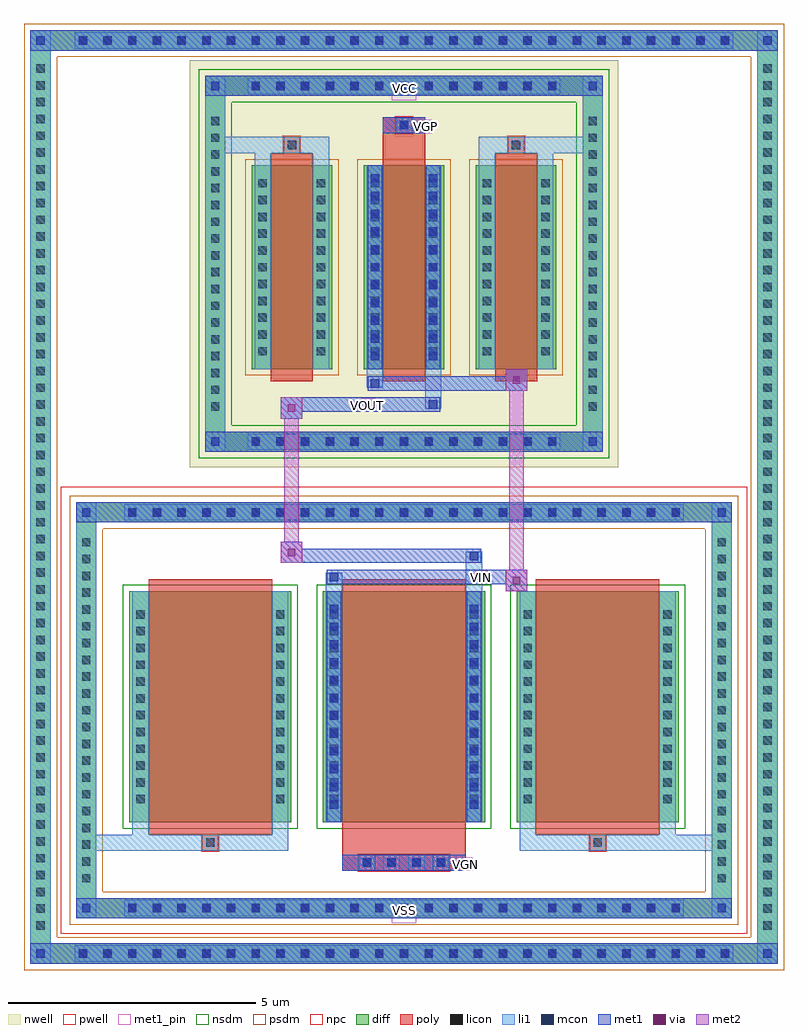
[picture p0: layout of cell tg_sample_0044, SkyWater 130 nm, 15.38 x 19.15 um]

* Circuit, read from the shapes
.subckt tg_sample_0044 VCC VGN VGP VIN VOUT VSS
XM1 VSS VSS VSS VSUBS sky130_fd_pr__nfet_01v8 w=4.67 l=2.5 m=2
XM2 VOUT VGN VIN VSUBS sky130_fd_pr__nfet_01v8 w=4.67 l=2.5
XM3 VCC VCC VCC n1 sky130_fd_pr__pfet_01v8 w=4.12 l=0.85 m=2
XM4 VOUT VGP VIN n1 sky130_fd_pr__pfet_01v8 w=4.12 l=0.85
.ends

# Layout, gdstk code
import gdstk
lib = gdstk.Library(unit=1e-6, precision=5e-09)
def R(c, l, rs):  # rectangles x0, y0, x1, y1
    for r in rs: c.add(gdstk.rectangle(r[:2], r[2:], *l))
def A(c, l, x, y, w, h, nx, ny, dx, dy):  # array of equal rectangles
    R(c, l, [(x+i*dx, y+j*dy, x+i*dx+w, y+j*dy+h) for i in range(nx) for j in range(ny)])
def P(c, l, *ps):  # polygons
    for p in ps: c.add(gdstk.Polygon(p, *l))
nwell = (64, 20)
pwell = (64, 44)
diff = (65, 20)
poly = (66, 20)
licon = (66, 44)
li1 = (67, 20)
mcon = (67, 44)
met1_pin = (68, 16)
met1 = (68, 20)
via = (68, 44)
met2 = (69, 20)
nsdm = (93, 44)
psdm = (94, 20)
npc = (95, 20)

tg_sample_0044 = lib.new_cell('tg_sample_0044')
R(tg_sample_0044, nwell, [(-4.335,4.92,4.335,13.15)])
R(tg_sample_0044, pwell, [(-6.945,-4.52,6.945,4.52)])
A(tg_sample_0044, diff, -6.705, -5.13, 0.41, 0.41, 27, 2, 0.5, 18.48)
A(tg_sample_0044, diff, -7.56, -4.56, 0.41, 0.41, 1, 52, 0, 0.34)
A(tg_sample_0044, diff, 7.15, -4.56, 0.41, 0.41, 1, 52, 0, 0.34)
A(tg_sample_0044, diff, -5.705, -4.21, 0.41, 0.41, 23, 2, 0.5, 8.01)
A(tg_sample_0044, diff, -6.635, -3.605, 0.41, 0.41, 1, 21, 0, 0.34)
A(tg_sample_0044, diff, 6.225, -3.605, 0.41, 0.41, 1, 21, 0, 0.34)
A(tg_sample_0044, diff, -5.56, -2.265, 3.28, 4.67, 3, 1, 3.92, 0)
A(tg_sample_0044, diff, -3.205, 5.23, 0.41, 0.41, 13, 2, 0.5, 7.2)
A(tg_sample_0044, diff, -4.025, 5.94, 0.41, 0.41, 1, 18, 0, 0.34)
A(tg_sample_0044, diff, 3.615, 5.94, 0.41, 0.41, 1, 18, 0, 0.34)
A(tg_sample_0044, diff, -3.085, 6.905, 1.63, 4.12, 3, 1, 2.27, 0)
R(tg_sample_0044, diff, [(-6.705,-5.13,6.705,-4.72), (-7.56,-4.56,-7.15,13.19), (7.15,-4.56,7.56,13.19), (-5.705,-4.21,5.705,-3.8), (-6.635,-3.605,-6.225,3.605), (6.225,-3.605,6.635,3.605), (-5.705,3.8,5.705,4.21), (-3.205,5.23,3.205,5.64), (-4.025,5.94,-3.615,12.13), (3.615,5.94,4.025,12.13), (-3.205,12.43,3.205,12.84), (-6.705,13.35,6.705,13.76)])
P(tg_sample_0044, diff, [(6.635,4.21),(-6.635,4.21),(-6.635,-3.8),(-6.225,-3.8),(-6.225,3.8),(6.225,3.8),(6.225,-3.8),(-6.225,-3.8),(-6.635,-3.8),(-6.635,-4.21),(6.635,-4.21)],
  [(7.56,13.76),(-7.56,13.76),(-7.56,-4.72),(-7.15,-4.72),(-7.15,13.35),(7.15,13.35),(7.15,-4.72),(-7.15,-4.72),(-7.56,-4.72),(-7.56,-5.13),(7.56,-5.13)],
  [(4.025,5.23),(-4.025,5.23),(-4.025,12.43),(-3.615,12.43),(-3.615,5.64),(3.615,5.64),(3.615,12.43),(-3.615,12.43),(-4.025,12.43),(-4.025,12.84),(4.025,12.84)])
A(tg_sample_0044, poly, -0.915, -3.25, 0.33, 0.33, 4, 1, 0.5, 0)
A(tg_sample_0044, poly, -5.17, -2.515, 2.5, 5.17, 3, 1, 3.92, 0)
A(tg_sample_0044, poly, -2.695, 6.655, 0.85, 4.62, 3, 1, 2.27, 0)
R(tg_sample_0044, poly, [(-1.25,-3.25,1.25,-2.92), (-1.25,-2.92,1.25,-2.515), (-4.085,-2.845,-3.755,-2.515), (-4.085,-2.845,-3.755,-2.515), (3.755,-2.845,4.085,-2.515), (3.755,-2.845,4.085,-2.515), (-2.435,11.275,-2.105,11.605), (-2.435,11.275,-2.105,11.605), (-0.425,11.275,0.425,11.675), (2.105,11.275,2.435,11.605), (2.105,11.275,2.435,11.605), (-0.425,11.675,0.425,12.005), (-0.165,11.675,0.165,12.005)])
A(tg_sample_0044, licon, -6.585, -5.01, 0.17, 0.17, 27, 2, 0.5, 18.48)
A(tg_sample_0044, licon, -7.44, -4.44, 0.17, 0.17, 1, 52, 0, 0.34)
A(tg_sample_0044, licon, 7.27, -4.44, 0.17, 0.17, 1, 52, 0, 0.34)
A(tg_sample_0044, licon, -5.585, -4.09, 0.17, 0.17, 23, 2, 0.5, 8.01)
A(tg_sample_0044, licon, -6.515, -3.485, 0.17, 0.17, 1, 21, 0, 0.34)
A(tg_sample_0044, licon, 6.345, -3.485, 0.17, 0.17, 1, 21, 0, 0.34)
A(tg_sample_0044, licon, -0.835, -3.17, 0.17, 0.17, 4, 1, 0.5, 0)
A(tg_sample_0044, licon, -5.42, -1.885, 0.17, 0.17, 1, 12, 0, 0.34)
A(tg_sample_0044, licon, -2.59, -1.885, 0.17, 0.17, 1, 12, 0, 0.34)
A(tg_sample_0044, licon, -1.5, -1.885, 0.17, 0.17, 1, 12, 0, 0.34)
A(tg_sample_0044, licon, 1.33, -1.885, 0.17, 0.17, 1, 12, 0, 0.34)
A(tg_sample_0044, licon, 2.42, -1.885, 0.17, 0.17, 1, 12, 0, 0.34)
A(tg_sample_0044, licon, 5.25, -1.885, 0.17, 0.17, 1, 12, 0, 0.34)
A(tg_sample_0044, licon, -3.085, 5.35, 0.17, 0.17, 13, 2, 0.5, 7.2)
A(tg_sample_0044, licon, -3.905, 6.06, 0.17, 0.17, 1, 18, 0, 0.34)
A(tg_sample_0044, licon, 3.735, 6.06, 0.17, 0.17, 1, 18, 0, 0.34)
A(tg_sample_0044, licon, -2.945, 7.18, 0.17, 0.17, 1, 11, 0, 0.34)
A(tg_sample_0044, licon, -1.765, 7.18, 0.17, 0.17, 1, 11, 0, 0.34)
A(tg_sample_0044, licon, -0.675, 7.18, 0.17, 0.17, 1, 11, 0, 0.34)
A(tg_sample_0044, licon, 0.505, 7.18, 0.17, 0.17, 1, 11, 0, 0.34)
A(tg_sample_0044, licon, 1.595, 7.18, 0.17, 0.17, 1, 11, 0, 0.34)
A(tg_sample_0044, licon, 2.775, 7.18, 0.17, 0.17, 1, 11, 0, 0.34)
R(tg_sample_0044, licon, [(-4.005,-2.765,-3.835,-2.595), (3.835,-2.765,4.005,-2.595), (-2.355,11.355,-2.185,11.525), (2.185,11.355,2.355,11.525), (-0.085,11.755,0.085,11.925)])
A(tg_sample_0044, li1, -6.665, -5.09, 0.33, 0.33, 27, 2, 0.5, 18.48)
A(tg_sample_0044, li1, -7.52, -4.52, 0.33, 0.33, 1, 52, 0, 0.34)
A(tg_sample_0044, li1, 7.19, -4.52, 0.33, 0.33, 1, 52, 0, 0.34)
A(tg_sample_0044, li1, -5.665, -4.17, 0.33, 0.33, 23, 2, 0.5, 8.01)
A(tg_sample_0044, li1, -6.595, -3.565, 0.33, 0.33, 1, 21, 0, 0.34)
A(tg_sample_0044, li1, 6.265, -3.565, 0.33, 0.33, 1, 21, 0, 0.34)
A(tg_sample_0044, li1, -0.915, -3.25, 0.33, 0.33, 4, 1, 0.5, 0)
A(tg_sample_0044, li1, -1.5, -1.995, 0.17, 0.17, 1, 12, 0, 0.36)
A(tg_sample_0044, li1, 1.33, -1.995, 0.17, 0.17, 1, 12, 0, 0.36)
A(tg_sample_0044, li1, -5.5, -1.965, 0.33, 0.33, 1, 12, 0, 0.34)
A(tg_sample_0044, li1, -2.67, -1.965, 0.33, 0.33, 1, 12, 0, 0.34)
A(tg_sample_0044, li1, -1.58, -1.965, 0.33, 0.33, 1, 12, 0, 0.34)
A(tg_sample_0044, li1, 1.25, -1.965, 0.33, 0.33, 1, 12, 0, 0.34)
A(tg_sample_0044, li1, 2.34, -1.965, 0.33, 0.33, 1, 12, 0, 0.34)
A(tg_sample_0044, li1, 5.17, -1.965, 0.33, 0.33, 1, 12, 0, 0.34)
A(tg_sample_0044, li1, -3.165, 5.27, 0.33, 0.33, 13, 2, 0.5, 7.2)
A(tg_sample_0044, li1, -3.985, 5.98, 0.33, 0.33, 1, 18, 0, 0.34)
A(tg_sample_0044, li1, 3.655, 5.98, 0.33, 0.33, 1, 18, 0, 0.34)
A(tg_sample_0044, li1, -0.675, 7.08, 0.17, 0.17, 1, 11, 0, 0.36)
A(tg_sample_0044, li1, 0.505, 7.08, 0.17, 0.17, 1, 11, 0, 0.36)
A(tg_sample_0044, li1, -3.025, 7.1, 0.33, 0.33, 1, 11, 0, 0.34)
A(tg_sample_0044, li1, -1.845, 7.1, 0.33, 0.33, 1, 11, 0, 0.34)
A(tg_sample_0044, li1, -0.755, 7.1, 0.33, 0.33, 1, 11, 0, 0.34)
A(tg_sample_0044, li1, 0.425, 7.1, 0.33, 0.33, 1, 11, 0, 0.34)
A(tg_sample_0044, li1, 1.515, 7.1, 0.33, 0.33, 1, 11, 0, 0.34)
A(tg_sample_0044, li1, 2.695, 7.1, 0.33, 0.33, 1, 11, 0, 0.34)
R(tg_sample_0044, li1, [(-7.56,-5.13,-7.15,-4.72), (7.15,-5.13,7.56,-4.72), (-6.665,-5.09,6.665,-4.76), (-7.44,-5.01,-7.27,-4.84), (-7.44,-5.01,-7.27,-4.84), (7.27,-5.01,7.44,-4.84), (7.27,-5.01,7.44,-4.84), (-7.56,-4.72,-7.15,13.35), (7.15,-4.72,7.56,13.35), (-6.635,-4.21,-6.225,-3.8), (6.225,-4.21,6.635,-3.8), (-5.665,-4.17,5.665,-3.84), (-6.515,-4.09,-6.345,-3.92), (-6.515,-4.09,-6.345,-3.92), (6.345,-4.09,6.515,-3.92), (6.345,-4.09,6.515,-3.92), (-6.635,-3.8,-6.225,3.8), (6.225,-3.8,6.635,3.8), (-6.635,-2.845,-4.085,-2.515), (-5.5,-2.845,-4.085,-2.515), (-5.5,-2.845,-5.17,-2.265), (-4.085,-2.845,-3.755,-2.515), (-3.755,-2.845,-2.34,-2.515), (-2.67,-2.845,-2.34,-2.265), (2.34,-2.845,3.755,-2.515), (2.34,-2.845,2.67,-2.265), (3.755,-2.845,4.085,-2.515), (3.755,-2.845,6.635,-2.515), (4.085,-2.845,5.5,-2.515), (5.17,-2.845,5.5,-2.265), (-5.5,-2.265,-5.17,2.405), (-2.67,-2.265,-2.34,2.405), (-1.58,-2.265,-1.25,2.405), (1.25,-2.265,1.58,2.405), (2.34,-2.265,2.67,2.405), (5.17,-2.265,5.5,2.405), (-1.5,-1.995,-1.33,2.135), (1.33,-1.995,1.5,2.135), (-1.58,2.405,-1.25,2.78), (1.25,2.405,1.58,3.21), (-1.5,2.61,-1.33,2.78), (1.33,3.04,1.5,3.21), (-6.635,3.8,-6.225,4.21), (6.225,3.8,6.635,4.21), (-5.665,3.84,5.665,4.17), (-6.515,3.92,-6.345,4.09), (-6.515,3.92,-6.345,4.09), (6.345,3.92,6.515,4.09), (6.345,3.92,6.515,4.09), (-4.025,5.23,-3.615,5.64), (3.615,5.23,4.025,5.64), (-3.165,5.27,3.165,5.6), (-3.905,5.35,-3.735,5.52), (-3.905,5.35,-3.735,5.52), (3.735,5.35,3.905,5.52), (3.735,5.35,3.905,5.52), (-4.025,5.64,-3.615,12.43), (3.615,5.64,4.025,12.43), (0.425,6.1,0.755,6.905), (0.505,6.1,0.675,6.27), (-0.755,6.53,-0.425,6.905), (-0.675,6.53,-0.505,6.7), (-3.025,6.905,-2.695,11.025), (-1.845,6.905,-1.515,11.025), (-0.755,6.905,-0.425,11.025), (0.425,6.905,0.755,11.025), (1.515,6.905,1.845,11.025), (2.695,6.905,3.025,11.025), (-0.675,7.08,-0.505,10.85), (0.505,7.08,0.675,10.85), (-3.025,11.025,-2.695,11.605), (-1.845,11.025,-1.515,11.605), (1.515,11.025,1.845,11.605), (2.695,11.025,3.025,11.605), (-4.025,11.275,-2.435,11.605), (-3.025,11.275,-2.435,11.605), (-2.435,11.275,-2.105,11.605), (-2.105,11.275,-1.515,11.605), (1.515,11.275,2.105,11.605), (2.105,11.275,2.435,11.605), (2.105,11.275,4.025,11.605), (2.435,11.275,3.025,11.605), (-0.165,11.675,0.165,12.005), (-4.025,12.43,-3.615,12.84), (3.615,12.43,4.025,12.84), (-3.165,12.47,3.165,12.8), (-3.905,12.55,-3.735,12.72), (-3.905,12.55,-3.735,12.72), (3.735,12.55,3.905,12.72), (3.735,12.55,3.905,12.72), (-7.56,13.35,-7.15,13.76), (7.15,13.35,7.56,13.76), (-6.665,13.39,6.665,13.72), (-7.44,13.47,-7.27,13.64), (-7.44,13.47,-7.27,13.64), (7.27,13.47,7.44,13.64), (7.27,13.47,7.44,13.64)])
A(tg_sample_0044, mcon, -6.585, -5.01, 0.17, 0.17, 27, 2, 0.5, 18.48)
A(tg_sample_0044, mcon, -5.585, -4.09, 0.17, 0.17, 23, 2, 0.5, 8.01)
A(tg_sample_0044, mcon, -0.835, -3.17, 0.17, 0.17, 4, 1, 0.5, 0)
A(tg_sample_0044, mcon, -1.5, -1.995, 0.17, 0.17, 1, 12, 0, 0.36)
A(tg_sample_0044, mcon, 1.33, -1.995, 0.17, 0.17, 1, 12, 0, 0.36)
A(tg_sample_0044, mcon, -3.085, 5.35, 0.17, 0.17, 13, 2, 0.5, 7.2)
A(tg_sample_0044, mcon, -0.675, 7.08, 0.17, 0.17, 1, 11, 0, 0.36)
A(tg_sample_0044, mcon, 0.505, 7.08, 0.17, 0.17, 1, 11, 0, 0.36)
R(tg_sample_0044, mcon, [(-7.44,-5.01,-7.27,-4.84), (7.27,-5.01,7.44,-4.84), (-6.515,-4.09,-6.345,-3.92), (6.345,-4.09,6.515,-3.92), (-1.5,2.61,-1.33,2.78), (1.33,3.04,1.5,3.21), (-6.515,3.92,-6.345,4.09), (6.345,3.92,6.515,4.09), (-3.905,5.35,-3.735,5.52), (3.735,5.35,3.905,5.52), (0.505,6.1,0.675,6.27), (-0.675,6.53,-0.505,6.7), (-0.085,11.755,0.085,11.925), (-3.905,12.55,-3.735,12.72), (3.735,12.55,3.905,12.72), (-7.44,13.47,-7.27,13.64), (7.27,13.47,7.44,13.64)])
R(tg_sample_0044, met1_pin, [(-0.25,-4.3,0.25,-3.8), (1.115,-3.25,1.385,-2.98), (1.425,2.55,1.695,2.82), (-0.87,6.04,-0.6,6.31), (0.29,11.675,0.56,11.945), (-0.25,12.34,0.25,12.84)])
A(tg_sample_0044, met1, -6.645, -5.07, 0.29, 0.29, 27, 2, 0.5, 18.48)
A(tg_sample_0044, met1, -5.645, -4.15, 0.29, 0.29, 23, 2, 0.5, 8.01)
A(tg_sample_0044, met1, -0.895, -3.23, 0.29, 0.29, 4, 1, 0.5, 0)
A(tg_sample_0044, met1, -1.56, -2.055, 0.29, 0.29, 1, 12, 0, 0.36)
A(tg_sample_0044, met1, 1.27, -2.055, 0.29, 0.29, 1, 12, 0, 0.36)
A(tg_sample_0044, met1, -3.145, 5.29, 0.29, 0.29, 13, 2, 0.5, 7.2)
A(tg_sample_0044, met1, -0.735, 7.02, 0.29, 0.29, 1, 11, 0, 0.36)
A(tg_sample_0044, met1, 0.445, 7.02, 0.29, 0.29, 1, 11, 0, 0.36)
R(tg_sample_0044, met1, [(-7.56,-5.13,-7.15,-4.72), (-7.56,-5.13,-7.15,-4.72), (-7.15,-5.13,7.15,-4.72), (7.15,-5.13,7.56,-4.72), (7.15,-5.13,7.56,-4.72), (-7.5,-5.07,-7.21,-4.78), (7.21,-5.07,7.5,-4.78), (-6.635,-4.21,-6.225,-3.8), (-6.635,-4.21,-6.225,-3.8), (-6.225,-4.21,6.225,-3.8), (6.225,-4.21,6.635,-3.8), (6.225,-4.21,6.635,-3.8), (-6.575,-4.15,-6.285,-3.86), (6.285,-4.15,6.575,-3.86), (-1.25,-3.25,1.25,-2.92), (-1.56,-2.265,-1.27,2.405), (1.27,-2.265,1.56,2.405), (2.06,2.41,2.49,2.84), (-1.56,2.55,-1.27,2.84), (-1.56,2.55,1.56,2.84), (1.56,2.55,2.49,2.84), (-2.49,2.98,-1.56,3.27), (-2.49,2.98,-2.06,3.41), (-1.56,2.98,1.56,3.27), (1.27,2.98,1.56,3.27), (-6.635,3.8,-6.225,4.21), (-6.635,3.8,-6.225,4.21), (-6.225,3.8,6.225,4.21), (6.225,3.8,6.635,4.21), (6.225,3.8,6.635,4.21), (-6.575,3.86,-6.285,4.15), (6.285,3.86,6.575,4.15), (-4.025,5.23,-3.615,5.64), (-4.025,5.23,-3.615,5.64), (-3.615,5.23,3.615,5.64), (3.615,5.23,4.025,5.64), (3.615,5.23,4.025,5.64), (-3.965,5.29,-3.675,5.58), (3.675,5.29,3.965,5.58), (-2.49,5.9,-2.06,6.33), (-2.49,6.04,-0.735,6.33), (-0.735,6.04,0.735,6.33), (0.445,6.04,0.735,6.33), (-0.735,6.47,-0.445,6.76), (-0.735,6.47,0.735,6.76), (0.735,6.47,2.49,6.76), (2.06,6.47,2.49,6.9), (-0.735,6.905,-0.445,11.025), (0.445,6.905,0.735,11.025), (-0.425,11.675,0.425,12.005), (-0.145,11.695,0.145,11.985), (-4.025,12.43,-3.615,12.84), (-4.025,12.43,-3.615,12.84), (-3.615,12.43,3.615,12.84), (3.615,12.43,4.025,12.84), (3.615,12.43,4.025,12.84), (-3.965,12.49,-3.675,12.78), (3.675,12.49,3.965,12.78), (-7.56,13.35,-7.15,13.76), (-7.56,13.35,-7.15,13.76), (-7.15,13.35,7.15,13.76), (7.15,13.35,7.56,13.76), (7.15,13.35,7.56,13.76), (-7.5,13.41,-7.21,13.7), (7.21,13.41,7.5,13.7)])
R(tg_sample_0044, via, [(2.2,2.55,2.35,2.7), (-2.35,3.12,-2.2,3.27), (-2.35,6.04,-2.2,6.19), (2.2,6.61,2.35,6.76)])
R(tg_sample_0044, met2, [(2.06,2.41,2.49,2.84), (2.13,2.41,2.42,6.9), (2.42,2.41,2.49,2.84), (2.11,2.46,2.44,2.79), (-2.49,2.98,-2.06,3.41), (-2.42,2.98,-2.13,6.33), (-2.13,2.98,-2.06,3.41), (-2.44,3.03,-2.11,3.36), (-2.49,5.9,-2.06,6.33), (-2.13,5.9,-2.06,6.33), (-2.44,5.95,-2.11,6.28), (2.06,6.47,2.49,6.9), (2.42,6.47,2.49,6.9), (2.11,6.52,2.44,6.85)])
A(tg_sample_0044, nsdm, -5.69, -2.395, 3.54, 4.93, 3, 1, 3.92, 0)
P(tg_sample_0044, nsdm, [(4.155,5.1),(-4.155,5.1),(-4.155,12.3),(-3.485,12.3),(-3.485,5.77),(3.485,5.77),(3.485,12.3),(-3.485,12.3),(-4.155,12.3),(-4.155,12.97),(4.155,12.97)])
A(tg_sample_0044, psdm, -3.215, 6.775, 1.89, 4.38, 3, 1, 2.27, 0)
P(tg_sample_0044, psdm, [(6.765,4.34),(-6.765,4.34),(-6.765,-3.67),(-6.095,-3.67),(-6.095,3.67),(6.095,3.67),(6.095,-3.67),(-6.095,-3.67),(-6.765,-3.67),(-6.765,-4.34),(6.765,-4.34)],
  [(7.69,13.89),(-7.69,13.89),(-7.69,-4.59),(-7.02,-4.59),(-7.02,13.22),(7.02,13.22),(7.02,-4.59),(-7.02,-4.59),(-7.69,-4.59),(-7.69,-5.26),(7.69,-5.26)])
A(tg_sample_0044, npc, -0.935, -3.27, 0.37, 0.37, 4, 1, 0.5, 0)
R(tg_sample_0044, npc, [(-0.935,-3.27,-0.065,-2.9), (-0.935,-3.27,-0.065,-2.9), (-0.435,-3.27,0.435,-2.9), (-0.435,-3.27,0.435,-2.9), (0.065,-3.27,0.935,-2.9), (0.065,-3.27,0.935,-2.9), (-4.105,-2.865,-3.735,-2.495), (3.735,-2.865,4.105,-2.495), (-2.455,11.255,-2.085,11.625), (2.085,11.255,2.455,11.625), (-0.185,11.655,0.185,12.025)])
tg_sample_0044.add(gdstk.Label('VIN', (1.56,2.685), layer=68, texttype=5))
tg_sample_0044.add(gdstk.Label('VGN', (1.25,-3.115), layer=68, texttype=5))
tg_sample_0044.add(gdstk.Label('VGP', (0.425,11.81), layer=68, texttype=5))
tg_sample_0044.add(gdstk.Label('VSS', (0,-4.05), layer=68, texttype=5))
tg_sample_0044.add(gdstk.Label('VCC', (0,12.59), layer=68, texttype=5))
tg_sample_0044.add(gdstk.Label('VOUT', (-0.735,6.175), layer=68, texttype=5))

lib.write_gds('tg_sample_0044.gds')
